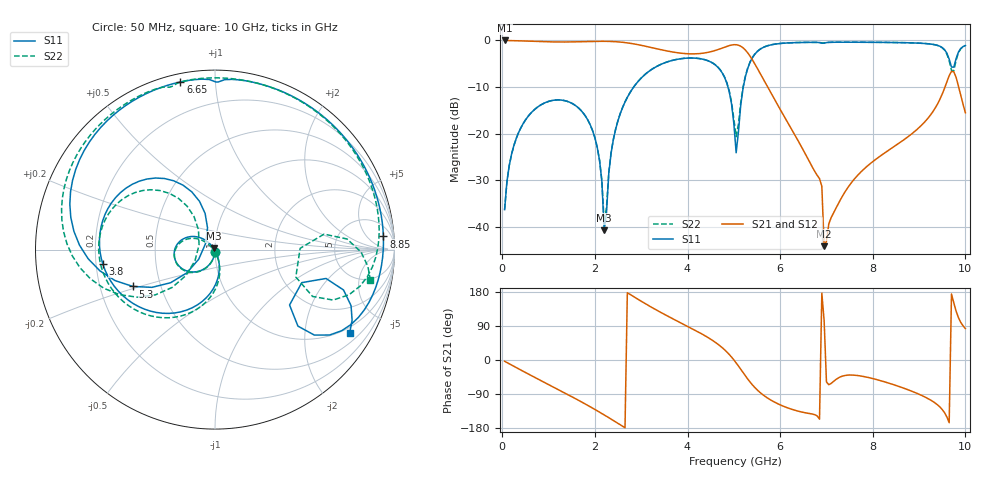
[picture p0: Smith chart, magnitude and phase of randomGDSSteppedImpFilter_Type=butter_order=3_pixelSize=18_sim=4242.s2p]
! freq	dB(S11)	phase(S11)	dB(S12)	phase(S12)
!  dB(S21)	phase(S21)	dB(S22)	phase(S22)
!S-par simulation data
#  GHz  S  DB  R 50
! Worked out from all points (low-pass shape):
!   200 points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, 50 MHz to 10 GHz, reference 50 ohm
!   highest |S21| = -0.01 dB at 50 MHz (marker M1); lowest = -44.2 dB at 6.95 GHz (marker M2)
!   |S21| within 3 dB of the highest: start of sweep to 5.324 GHz
!   lowest |S11| = -40.8 dB at 2.2 GHz (marker M3), VSWR 1.02, Z = 49.3 + j0.623 ohm
!   |S11| at or under -10 dB: start of sweep to 2.838 GHz; 4.872 GHz to 5.204 GHz (331.8 MHz wide, 6.59 % of centre)
!   |S22| runs from -38.9 to -0.4 dB; largest |S21 - S12| = 0
!   S11 on the Smith chart (normalised r, x): 50 MHz: 1.00, -0.03; 3.8 GHz: 0.23, -0.06; 5.3 GHz: 0.35, -0.19; 6.65 GHz: 0.04, +0.81; 8.85 GHz: 12, +16; 10 GHz: 0.80, -3.35
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0.05  -36.33 -93.1  -0.01 -3.4  -0.01 -3.4  -36.33 -93.0
0.2  -24.43 -103.5  -0.04 -13.3  -0.04 -13.3  -24.43 -103.1
0.55  -16.39 -127.2  -0.15 -36.2  -0.15 -36.2  -16.39 -126.1
1.75  -15.61 155.0  -0.26 -113.3  -0.26 -113.3  -15.62 159.2
2.05  -22.93 135.0  -0.19 -134.0  -0.19 -134.0  -22.93 142.2
2.2  -40.78 136.3  -0.19 -144.9  -0.19 -144.9  -38.95 166.5
2.35  -24.15 -71.0  -0.22 -156.0  -0.22 -156.0  -24.04 -71.9
2.55  -15.64 -85.0  -0.35 -171.1  -0.35 -171.1  -15.61 -82.5
3.4  -5.25 -146.7  -1.93 127.1  -1.93 127.1  -5.24 -140.8
3.8  -4.01 -172.5  -2.67 101.3  -2.67 101.3  -4.00 -165.3
4.75  -6.99 121.0  -1.64 32.5  -1.64 32.5  -6.94 133.0
5.05  -24.11 147.5  -0.92 -7.6  -0.92 -7.6  -20.67 163.6
5.3  -5.99 -155.9  -2.67 -50.3  -2.67 -50.3  -5.89 -148.5
5.7  -1.24 158.2  -9.49 -98.2  -9.49 -98.2  -1.22 169.0
6.65  -0.41 101.7  -26.35 -141.6  -26.35 -141.6  -0.41 116.6
6.7  -0.41 99.3  -27.28 -142.7  -27.28 -142.7  -0.40 114.4
6.9  -0.60 89.7  -31.31 176.6  -31.31 176.6  -0.54 105.7
6.95  -0.59 88.9  -44.16 103.4  -44.16 103.4  -0.53 104.7
8.35  -0.43 27.2  -23.52 -61.2  -23.52 -61.2  -0.43 46.7
8.85  -0.53 4.5  -19.99 -82.7  -19.99 -82.7  -0.52 24.3
9.7  -5.72 -36.6  -6.64 174.3  -6.64 174.3  -6.46 -18.7
10  -1.09 -31.7  -15.53 82.8  -15.53 82.8  -1.09 -11.1
